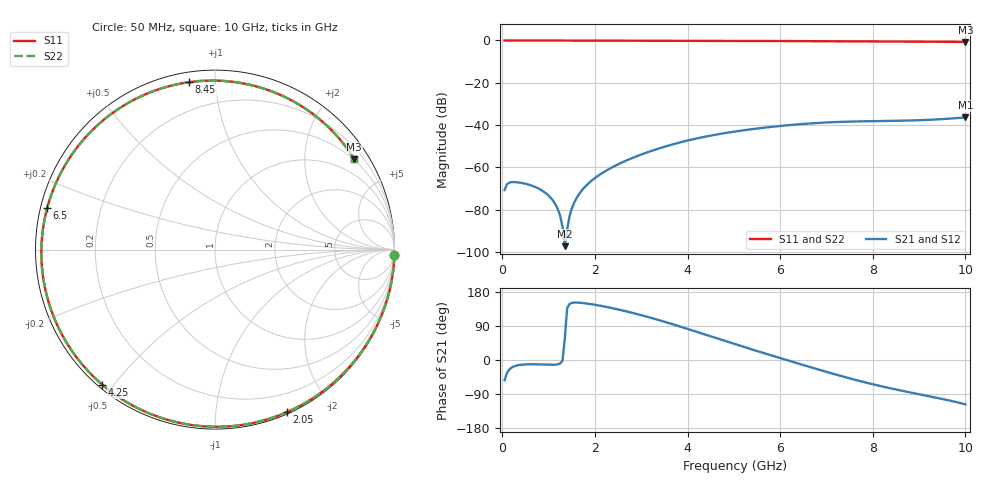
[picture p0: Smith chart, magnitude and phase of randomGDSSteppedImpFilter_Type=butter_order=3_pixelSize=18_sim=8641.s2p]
! freq	dB(S11)	phase(S11)	dB(S12)	phase(S12)
!  dB(S21)	phase(S21)	dB(S22)	phase(S22)
!S-par simulation data
#  GHz  S  DB  R 50
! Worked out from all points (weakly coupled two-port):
!   200 points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, 50 MHz to 10 GHz, reference 50 ohm
!   highest |S21| = -36.42 dB at 10 GHz (marker M1); lowest = -97.3 dB at 1.35 GHz (marker M2)
!   lowest |S11| = -0.7 dB at 10 GHz (marker M3), VSWR 25.69, Z = 23.8 + j166 ohm
!   |S11| at or under -10 dB: nowhere
!   |S22| runs from -0.7 to 0.0 dB; largest |S21 - S12| = 0
!   S11 on the Smith chart (normalised r, x): 50 MHz: 0, -69; 2.05 GHz: 0.02, -1.54; 4.25 GHz: 0.01, -0.47; 6.5 GHz: 0.02, +0.12; 8.45 GHz: 0.05, +0.86; 10 GHz: 0.48, +3.32
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0.05  -0.00 -1.7  -70.83 -53.5  -70.83 -53.5  -0.00 -1.7
0.1  -0.00 -3.3  -68.03 -34.5  -68.03 -34.5  -0.00 -3.3
0.2  -0.00 -6.7  -67.04 -20.0  -67.04 -20.0  -0.00 -6.7
0.6  -0.02 -20.0  -68.42 -11.4  -68.42 -11.4  -0.02 -19.9
0.95  -0.04 -31.4  -72.46 -12.3  -72.46 -12.3  -0.04 -31.4
1.2  -0.05 -39.5  -79.87 -11.3  -79.87 -11.3  -0.05 -39.5
1.35  -0.06 -44.3  -97.34 56.5  -97.34 56.5  -0.06 -44.2
1.5  -0.06 -49.0  -79.57 150.6  -79.57 150.6  -0.06 -49.0
1.75  -0.07 -56.9  -70.12 150.2  -70.12 150.2  -0.07 -56.8
2.05  -0.08 -66.1  -64.31 144.6  -64.31 144.6  -0.08 -66.1
2.6  -0.10 -82.7  -57.58 130.6  -57.58 130.6  -0.10 -82.7
3.4  -0.13 -106.0  -50.97 104.6  -50.97 104.6  -0.13 -105.9
4.25  -0.17 -129.8  -46.11 72.2  -46.11 72.2  -0.17 -129.7
5.05  -0.22 -152.0  -43.00 40.8  -43.00 40.8  -0.22 -151.9
5.8  -0.27 -173.2  -40.91 12.5  -40.91 12.5  -0.27 -173.1
6.5  -0.33 166.1  -39.49 -13.3  -39.49 -13.3  -0.33 166.2
6.7  -0.34 159.9  -39.18 -20.6  -39.18 -20.6  -0.34 160.1
7.5  -0.41 133.8  -38.39 -48.4  -38.39 -48.4  -0.41 133.9
8.35  -0.49 102.7  -38.07 -73.8  -38.07 -73.8  -0.49 102.9
8.45  -0.50 98.8  -38.04 -76.5  -38.04 -76.5  -0.50 99.0
9.2  -0.58 68.0  -37.56 -95.2  -37.56 -95.2  -0.57 68.2
10  -0.68 33.0  -36.42 -117.1  -36.42 -117.1  -0.68 33.2
